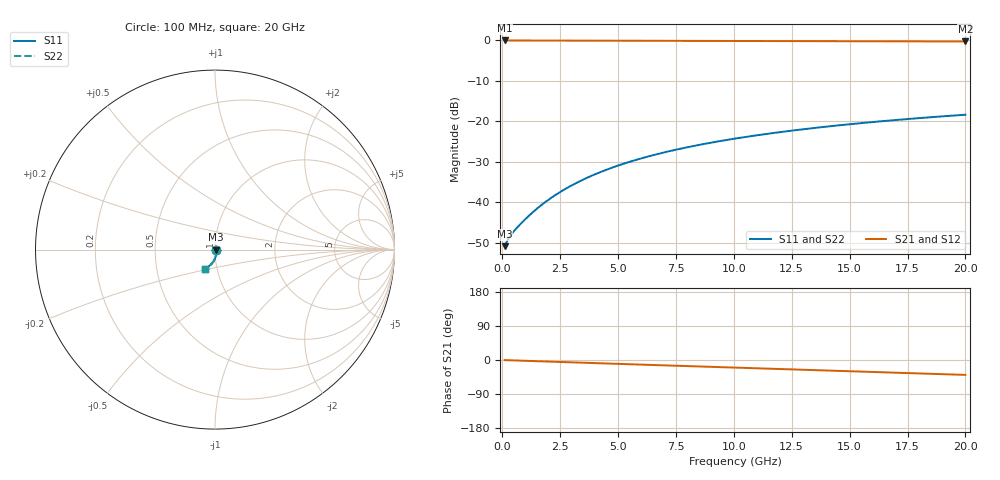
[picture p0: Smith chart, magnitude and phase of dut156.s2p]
! Touchstone file exported from HFSS 2026.1.0
!  File:  C:/ffzhzh/LocalFiles/Ansys_Project_Files/temp_train_TMRDL_156_1782983214_6248.aedt
!  Generated:  05:07:57 PM Jul  2, 2026
!  Design:  TMRDL
!  Project:  temp_train_TMRDL_156_1782983214_6248
! Variables:
!  h_bsmrdl = 2um
!  h_ox = 20um
!  h_rdl = 5um
!  h_sub = 80um
!  h_tmrdl = 5.97um
!  h_tsv = 80um
!  h_via = 3um
!  l_bsmrdl = 300um
!  l_sub = 1107.19um
!  l_tmrdl = 707.19um
!  m_sub = 200um
!  pitch = 19.46um
!  r_tsv = 6um
!  s_tmrdl = 10um
!  w_bsmrdl = 18um
!  w_sub = 500um
!  w_tmrdl = 16.09um
!  x_tsv_center1 = 715.235um
!  x_tsv_center2 = 1033.235um
!  x_tsv_center3 = 1756.515um
!  x_tsv_center4 = 2074.515um
!  x_tsv_center5 = 2797.795um
!  x_tsv_center6 = 3115.795um
# GHz S MA R 50.000000
! Terminal data exported
! Port[1] = TM_RDL1_1_T1
! Port[2] = TM_RDL1_1_T2
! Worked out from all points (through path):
!   200 points, 100 MHz to 20 GHz, reference 50 ohm
!   highest |S21| = -0.02 dB at 100 MHz (marker M1); lowest = -0.3 dB at 20 GHz (marker M2)
!   group delay of S21, straight-line fit = 5.43 ps
!   lowest |S11| = -50.9 dB at 100 MHz (marker M3), VSWR 1.01, Z = 50.3 + j0.014 ohm
!   |S11| at or under -10 dB: start of sweep to end of sweep
!   |S22| runs from -50.9 to -18.4 dB; largest |S21 - S12| = 4.2e-15
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0.1  0.002865 2.8  0.9971 -0.2  0.9971 -0.2  0.002865 2.8
! Gamma 0 0 0 0
! Port Impedance 50 0 50 0
0.2  0.003282 -0.1  0.9967 -0.5  0.9967 -0.5  0.003282 -0.1
0.3  0.003688 -6.1  0.9963 -0.7  0.9963 -0.7  0.003689 -6.1
0.5  0.004392 -18.9  0.9958 -1.1  0.9958 -1.1  0.004392 -18.9
0.7  0.005074 -29.4  0.9955 -1.5  0.9955 -1.5  0.005076 -29.4
1  0.006195 -41.0  0.9952 -2.1  0.9952 -2.1  0.006197 -40.9
1.5  0.00834 -52.9  0.9946 -3.2  0.9946 -3.2  0.008344 -52.9
1.9  0.01025 -58.8  0.994 -4.0  0.994 -4.0  0.01026 -58.8
2.4  0.01284 -64.0  0.9933 -5.0  0.9933 -5.0  0.01285 -63.9
2.9  0.0156 -67.8  0.9925 -6.0  0.9925 -6.0  0.01561 -67.8
3.5  0.01909 -71.5  0.9915 -7.2  0.9915 -7.2  0.01911 -71.4
4.2  0.02335 -75.0  0.9903 -8.6  0.9903 -8.6  0.02337 -74.9
5  0.02838 -78.5  0.9891 -10.2  0.9891 -10.2  0.02841 -78.4
5.9  0.03417 -82.1  0.9877 -12.0  0.9877 -12.0  0.03421 -81.9
6.8  0.04002 -85.3  0.9864 -13.8  0.9864 -13.8  0.04007 -85.1
8.3  0.0498 -90.2  0.9843 -16.7  0.9843 -16.7  0.04986 -89.9
10.1  0.06144 -95.4  0.9819 -20.2  0.9819 -20.2  0.06153 -95.1
11.7  0.07163 -99.7  0.9798 -23.3  0.9798 -23.3  0.07173 -99.4
13.4  0.08224 -103.9  0.9776 -26.6  0.9776 -26.6  0.08237 -103.6
15  0.09199 -107.8  0.9754 -29.7  0.9754 -29.7  0.09214 -107.4
16.7  0.102 -111.7  0.973 -33.0  0.973 -33.0  0.1022 -111.3
20  0.1205 -119.0  0.9684 -39.3  0.9684 -39.3  0.1208 -118.5
